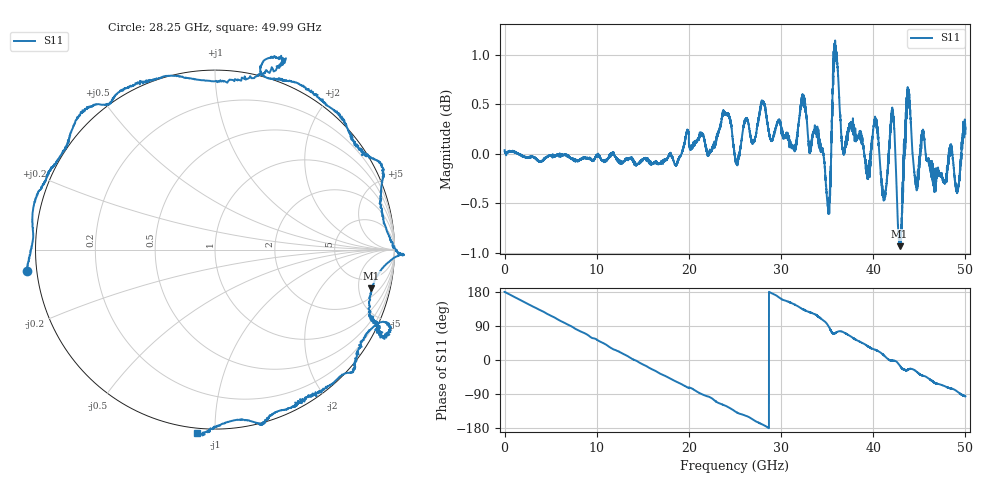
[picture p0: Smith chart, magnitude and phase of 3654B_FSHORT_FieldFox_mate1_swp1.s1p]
!Created with skrf (http://scikit-rf.org).
# Hz S RI R 50.0
!freq ReS11 ImS11
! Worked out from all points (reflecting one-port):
!   10000 points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, 5.3 MHz to 50 GHz, reference 50 ohm
!   lowest |S11| = -0.9 dB at 42.86 GHz (marker M1), VSWR 18.58, Z = 154 - j342 ohm
!   phase of S11 starts at 180 deg and turns -636 deg over the sweep
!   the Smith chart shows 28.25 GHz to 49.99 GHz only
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5299970  -1.004 0.00165
2.890283e9  -0.8007 0.5921
6.255262e9  -0.1906 0.9804
8.930246e9  0.3791 0.9195
1.250522e10  0.9242 0.3537
1.534521e10  0.9574 -0.2665
1.875519e10  0.5184 -0.8426
2.148517e10  -0.0201 -1.022
2.390016e10  -0.5258 -0.9064
2.500515e10  -0.7107 -0.6988
2.805513e10  -1.049 -0.1636
3.005012e10  -0.9686 0.3412
3.125511e10  -0.8623 0.5216
3.242011e10  -0.7318 0.7724
3.38601e10  -0.4768 0.9047
3.483509e10  -0.1648 0.9576
3.569009e10  0.3748 1.057
3.655508e10  0.2537 0.9872
3.750507e10  0.4696 0.9221
4.024006e10  0.9296 0.4683
4.209505e10  1.045 -0.031
4.285504e10  0.8716 -0.2156
4.337004e10  0.8971 -0.4273
4.375504e10  0.9656 -0.4673
4.436503e10  0.8936 -0.421
4.681002e10  0.4549 -0.8563
4.865001e10  0.2297 -0.9661
5e10  -0.1044 -1.018
